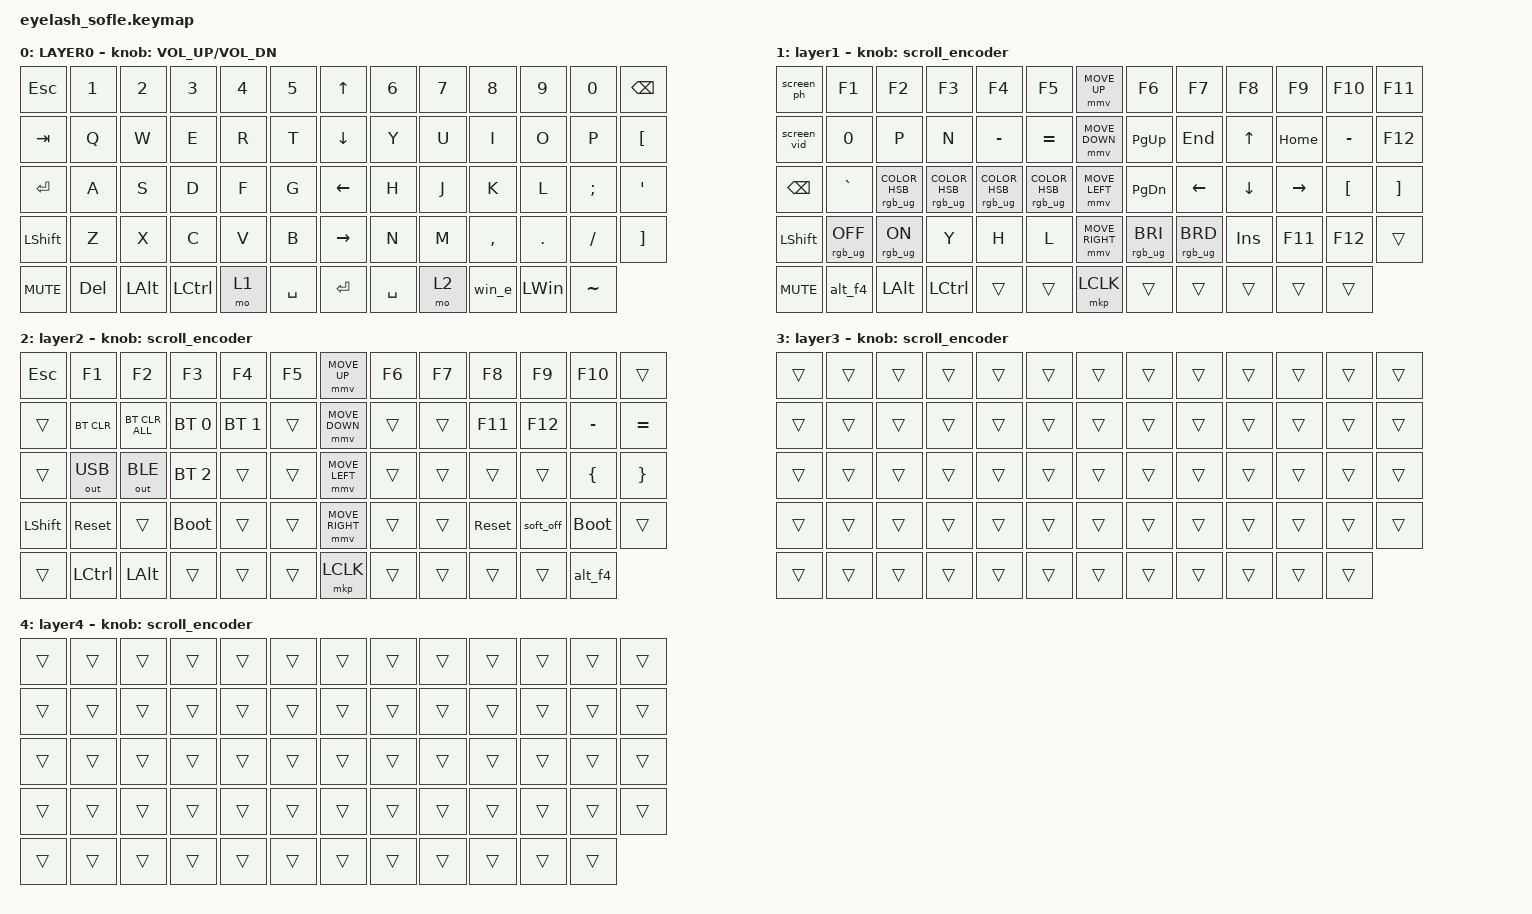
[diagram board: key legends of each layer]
#define ZMK_POINTING_DEFAULT_MOVE_VAL 1200  // 600
#define ZMK_POINTING_DEFAULT_SCRL_VAL 25   // 10

#include <input/processors.dtsi>
#include <zephyr/dt-bindings/input/input-event-codes.h>
#include <behaviors.dtsi>
#include <dt-bindings/zmk/bt.h>
#include <dt-bindings/zmk/keys.h>
#include <dt-bindings/zmk/outputs.h>
#include <dt-bindings/zmk/pointing.h>
#include <dt-bindings/zmk/rgb.h>

&mmv_input_listener { input-processors = <&zip_xy_scaler 2 1>; };

&msc_input_listener { input-processors = <&zip_scroll_scaler 2 1>; };

&msc {
    acceleration-exponent = <1>;      // 0
    time-to-max-speed-ms = <100>;       // 300
    delay-ms = <0>;                   // 0
};

&mmv {
    time-to-max-speed-ms = <500>;
    acceleration-exponent = <1>;
    trigger-period-ms = <16>;
};

&soft_off { hold-time-ms = <2000>; };

/ {
    scroll_encoder: scroll_encoder {
        compatible = "zmk,behavior-sensor-rotate";
        #sensor-binding-cells = <0>;
        bindings = <&msc SCRL_DOWN>, <&msc SCRL_UP>;

        tap-ms = <100>;
    };

    behaviors {
    };

    combos { compatible = "zmk,combos"; };

    macros {
        win_e: win_e {
            compatible = "zmk,behavior-macro";
            #binding-cells = <0>;
            bindings = <&sk LEFT_WIN &kp E>;
            label = "WIN_E";
        };

        screen_ph: screen_ph {
            compatible = "zmk,behavior-macro";
            #binding-cells = <0>;
            bindings = <&sk LEFT_SHIFT &kp PRINTSCREEN>;
            label = "SCREEN_PH";
        };

        screen_vid: screen_vid {
            compatible = "zmk,behavior-macro";
            #binding-cells = <0>;
            bindings = <&sk LEFT_CONTROL &kp PRINTSCREEN>;
            label = "SCREEN_VID";
        };

        alt_f4: alt_f4 {
            compatible = "zmk,behavior-macro";
            #binding-cells = <0>;
            bindings = <&sk LA(LEFT_ALT) &kp F4>;
            label = "ALT_F4";
        };

        ctrl_z: ctrl_z {
            compatible = "zmk,behavior-macro";
            #binding-cells = <0>;
            bindings = <&sk LEFT_CONTROL &kp Z>;
            label = "CTRL_Z";
        };
    };

    keymap {
        compatible = "zmk,keymap";

        layer0 {
            bindings = <
&kp ESC     &kp N1      &kp N2        &kp N3            &kp N4  &kp N5       &kp UP_ARROW     &kp N6     &kp N7  &kp N8     &kp N9        &kp N0     &kp BACKSPACE
&kp TAB     &kp Q       &kp W         &kp E             &kp R   &kp T        &kp DOWN_ARROW   &kp Y      &kp U   &kp I      &kp O         &kp P      &kp LEFT_BRACKET
&kp ENTER   &kp A       &kp S         &kp D             &kp F   &kp G        &kp LEFT_ARROW   &kp H      &kp J   &kp K      &kp L         &kp SEMI   &kp APOS
&kp LSHFT   &kp Z       &kp X         &kp C             &kp V   &kp B        &kp RIGHT_ARROW  &kp N      &kp M   &kp COMMA  &kp DOT       &kp FSLH   &kp RIGHT_BRACKET
&kp C_MUTE  &kp DELETE  &kp LEFT_ALT  &kp LEFT_CONTROL  &mo 1   &kp SPACE    &kp ENTER        &kp SPACE  &mo 2   &win_e     &kp LEFT_WIN  &kp TILDE
            >;

            sensor-bindings = <&inc_dec_kp C_VOLUME_UP C_VOL_DN>;
            display-name = "LAYER0";
        };

        layer_1 {
            bindings = <
&screen_ph      &kp F1           &kp F2                             &kp F3                             &kp F4                          &kp F5                               &mmv MOVE_UP     &kp F6           &kp F7           &kp F8      &kp F9     &kp F10           &kp F11
&screen_vid     &kp N0           &kp P                              &kp N                              &kp MINUS                       &kp EQUAL                            &mmv MOVE_DOWN   &kp PG_UP        &kp END          &kp UP      &kp HOME   &kp MINUS         &kp F12
&kp BACKSPACE   &kp GRAVE        &rgb_ug RGB_COLOR_HSB(121,100,50)  &rgb_ug RGB_COLOR_HSB(177,100,50)  &rgb_ug RGB_COLOR_HSB(0,96,50)  &rgb_ug RGB_COLOR_HSB(290,100,50)    &mmv MOVE_LEFT   &kp PG_DN        &kp LEFT         &kp DOWN    &kp RIGHT  &kp LEFT_BRACKET  &kp RIGHT_BRACKET
&kp LEFT_SHIFT  &rgb_ug RGB_OFF  &rgb_ug RGB_ON                     &kp Y                              &kp H                           &kp L                                &mmv MOVE_RIGHT  &rgb_ug RGB_BRI  &rgb_ug RGB_BRD  &kp INSERT  &kp F11    &kp F12           &trans
&kp C_MUTE      &alt_f4          &kp LEFT_ALT                       &kp LEFT_CONTROL                   &trans                          &trans                               &mkp LCLK        &trans           &trans           &trans      &trans     &trans
            >;

            display-name = "layer1";
            sensor-bindings = <&scroll_encoder>;
        };

        layer_2 {
            bindings = <
&kp ESCAPE      &kp F1            &kp F2          &kp F3        &kp F4        &kp F5    &mmv MOVE_UP     &kp F6  &kp F7  &kp F8      &kp F9     &kp F10      &trans
&trans          &bt BT_CLR        &bt BT_CLR_ALL  &bt BT_SEL 0  &bt BT_SEL 1  &trans    &mmv MOVE_DOWN   &trans  &trans  &kp F11     &kp F12    &kp MINUS    &kp EQUAL
&trans          &out OUT_USB      &out OUT_BLE    &bt BT_SEL 2  &trans        &trans    &mmv MOVE_LEFT   &trans  &trans  &trans      &trans     &kp LBRC     &kp RBRC
&kp LEFT_SHIFT  &sys_reset        &trans          &bootloader   &trans        &trans    &mmv MOVE_RIGHT  &trans  &trans  &sys_reset  &soft_off  &bootloader  &trans
&trans          &kp LEFT_CONTROL  &kp LEFT_ALT    &trans        &trans        &trans    &mkp LCLK        &trans  &trans  &trans      &trans     &alt_f4
            >;

            display-name = "layer2";
            sensor-bindings = <&scroll_encoder>;
        };

        layer_3 {
            bindings = <
&trans  &trans  &trans  &trans  &trans  &trans    &trans  &trans  &trans  &trans  &trans  &trans  &trans
&trans  &trans  &trans  &trans  &trans  &trans    &trans  &trans  &trans  &trans  &trans  &trans  &trans
&trans  &trans  &trans  &trans  &trans  &trans    &trans  &trans  &trans  &trans  &trans  &trans  &trans
&trans  &trans  &trans  &trans  &trans  &trans    &trans  &trans  &trans  &trans  &trans  &trans  &trans
&trans  &trans  &trans  &trans  &trans  &trans    &trans  &trans  &trans  &trans  &trans  &trans
            >;

            display-name = "layer3";
            sensor-bindings = <&scroll_encoder>;
        };

        layer_4 {
            bindings = <
&trans  &trans  &trans  &trans  &trans  &trans    &trans  &trans  &trans  &trans  &trans  &trans  &trans
&trans  &trans  &trans  &trans  &trans  &trans    &trans  &trans  &trans  &trans  &trans  &trans  &trans
&trans  &trans  &trans  &trans  &trans  &trans    &trans  &trans  &trans  &trans  &trans  &trans  &trans
&trans  &trans  &trans  &trans  &trans  &trans    &trans  &trans  &trans  &trans  &trans  &trans  &trans
&trans  &trans  &trans  &trans  &trans  &trans    &trans  &trans  &trans  &trans  &trans  &trans
            >;

            display-name = "layer4";
            sensor-bindings = <&scroll_encoder>;
        };
    };
};
